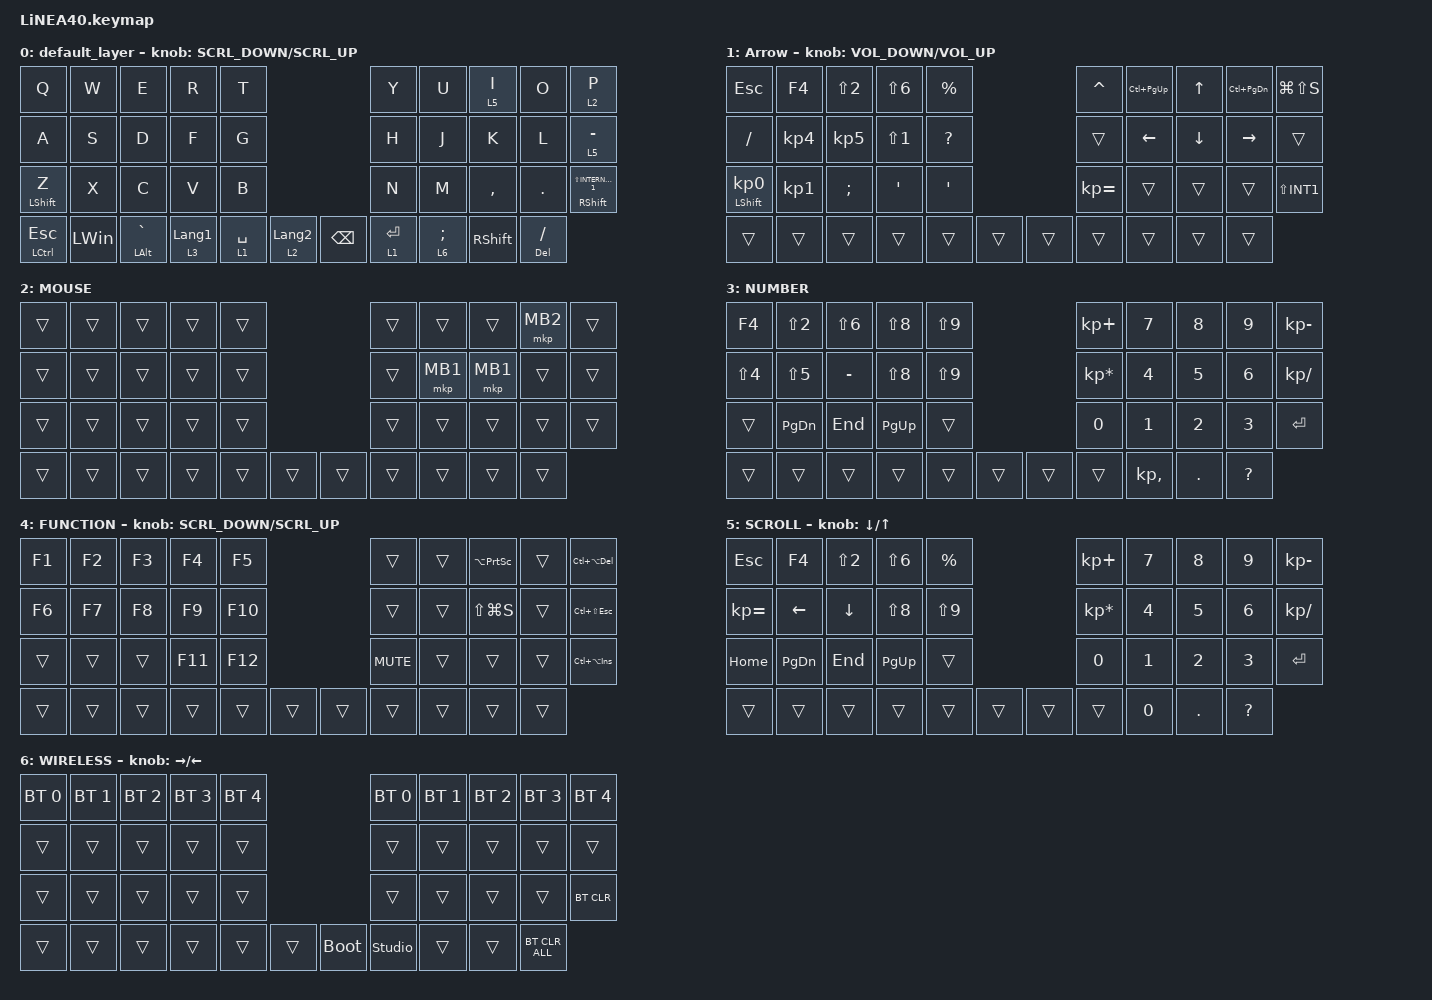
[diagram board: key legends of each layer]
#define ZMK_POINTING_DEFAULT_SCRL_VAL 150

#include <dt-bindings/zmk/input_transform.h>
#include <input/processors.dtsi>
#include <zephyr/dt-bindings/input/input-event-codes.h>
#include <behaviors.dtsi>
#include <dt-bindings/zmk/bt.h>
#include <dt-bindings/zmk/keys.h>
#include <dt-bindings/zmk/pointing.h>

#define MOUSE 1
#define MARK 2
#define CURSOR 3
#define FUNCTION 4
#define SCROLL 5
#define WIRELESS 6

//mouse cursol

&mmv {
    delay-ms = <20>;
    trigger-period-ms = <5>;
    time-to-max-speed-ms = <100>;
    acceleration-exponent = <2>;
};

//mouse scroll

&msc {
    delay-ms = <3>;
    trigger-period-ms = <6>;
    time-to-max-speed-ms = <100>;
    acceleration-exponent = <0>;
};

/ {
    input_processors {
        zip_wheel_scaler: zip_wheel_scaler {
            compatible = "zmk,input-processor-scaler";
            #input-processor-cells = <2>;
            type = <INPUT_EV_REL>;
            codes = <INPUT_REL_WHEEL>;
            track-remainders;
        };
    };
};

&msc_input_listener {
    speed_up {
        layers = <FUNCTION>;
        input-processors = <&zip_wheel_scaler 3 1>; //スクロールを3倍速にする
    };
};

&trackball_listener {
    scroller {
        layers = <SCROLL>;
        input-processors =
            <&zip_xy_transform INPUT_TRANSFORM_Y_INVERT>,
            //スクロール方向を逆転,,,,,,,,,,,,,,,,
            <&zip_xy_to_scroll_mapper>;
    };
};

/ {
    combos {
        compatible = "zmk,combos";

        ZenkakuHankaku {
            bindings = <&kp GRAVE>;
            key-positions = <11 12>;
        };

        InsertKey {
            bindings = <&kp INS>;
            key-positions = <6 7>;
        };

        CenterClick {
            bindings = <&mkp MB3>;
            key-positions = <17 16>;
        };

        RightClick {
            bindings = <&mkp MB2>;
            key-positions = <18 17>;
        };

        PrevClick {
            bindings = <&mkp MB4>;
            key-positions = <27 28>;
        };

        ClickNext {
            bindings = <&mkp MB5>;
            key-positions = <26 27>;
        };

        tab {
            bindings = <&kp TAB>;
            key-positions = <10 11>;
        };

        esc {
            bindings = <&kp ESC>;
            key-positions = <0 1>;
        };

        del {
            bindings = <&kp DELETE>;
            key-positions = <8 9>;
        };
    };

    behaviors {
        re_kp: sensor_rotate_kp {
            compatible = "zmk,behavior-sensor-rotate-var";
            #sensor-binding-cells = <2>;
            bindings = <&kp>, <&kp>;
        };

        mouse_scrl: mouse_wheel_scrl {
            compatible = "zmk,behavior-sensor-rotate-var";
            #sensor-binding-cells = <2>;
            bindings = <&msc>, <&msc>;

            tap-ms = <20>;
        };
    };

    keymap {
        compatible = "zmk,keymap";

        default_layer {
            bindings = <
&kp Q             &kp W         &kp E               &kp R             &kp T                                           &kp Y        &kp U  &lt 5 I          &kp O            &lt 2 P
&kp A             &kp S         &kp D               &kp F             &kp G                                           &kp H        &kp J  &kp K            &kp L            &lt 5 MINUS
&mt LEFT_SHIFT Z  &kp X         &kp C               &kp V             &kp B                                           &kp N        &kp M  &kp COMMA        &kp DOT          &mt RIGHT_SHIFT LS(INTERNATIONAL_1)
&mt LCTRL ESC     &kp LEFT_WIN  &mt LEFT_ALT GRAVE  &lt 3 LANGUAGE_1  &lt 1 SPACE  &lt 2 LANGUAGE_2    &kp BACKSPACE  &lt 1 ENTER         &lt 6 SEMICOLON  &kp RIGHT_SHIFT  &mt DELETE SLASH
            >;

            sensor-bindings = <&mouse_scrl SCRL_DOWN SCRL_UP>;
        };

        Arrow {
            bindings = <
&kp ESCAPE                  &kp F4           &kp LS(N2)       &kp LS(NUMBER_6)  &kp PERCENT                     &kp CARET     &kp LC(PAGE_UP)  &kp UP_ARROW    &kp LC(PAGE_DOWN)  &kp LG(LS(S))
&kp SLASH                   &kp KP_NUMBER_4  &kp KP_NUMBER_5  &kp LS(NUMBER_1)  &kp QUESTION                    &trans        &kp LEFT_ARROW   &kp DOWN_ARROW  &kp RIGHT          &trans
&mt LEFT_SHIFT KP_NUMBER_0  &kp KP_NUMBER_1  &kp SEMI         &kp APOS          &kp SQT                         &kp KP_EQUAL  &trans           &trans          &trans             &kp LS(INT1)
&trans                      &trans           &trans           &trans            &trans        &trans    &trans  &trans                         &trans          &trans             &trans
            >;

            sensor-bindings = <&re_kp C_VOLUME_DOWN C_VOLUME_UP>;
        };

        MOUSE {
            bindings = <
&trans  &trans  &trans  &trans  &trans                    &trans  &trans    &trans    &mkp MB2  &trans
&trans  &trans  &trans  &trans  &trans                    &trans  &mkp MB1  &mkp MB1  &trans    &trans
&trans  &trans  &trans  &trans  &trans                    &trans  &trans    &trans    &trans    &trans
&trans  &trans  &trans  &trans  &trans  &trans    &trans  &trans            &trans    &trans    &trans
            >;
        };

        NUMBER {
            bindings = <
&kp F4            &kp LS(NUMBER_2)  &kp LS(NUMBER_6)  &kp LS(N8)        &kp LS(N9)                          &kp KP_PLUS      &kp NUMBER_7  &kp NUMBER_8  &kp NUMBER_9  &kp KP_MINUS
&kp LS(NUMBER_4)  &kp LS(N5)        &kp MINUS         &kp LS(NUMBER_8)  &kp LS(NUMBER_9)                    &kp KP_MULTIPLY  &kp NUMBER_4  &kp NUMBER_5  &kp NUMBER_6  &kp KP_SLASH
&trans            &kp PAGE_DOWN     &kp END           &kp PAGE_UP       &trans                              &kp NUMBER_0     &kp NUMBER_1  &kp NUMBER_2  &kp NUMBER_3  &kp ENTER
&trans            &trans            &trans            &trans            &trans            &trans    &trans  &trans                         &kp KP_COMMA  &kp DOT       &kp QUESTION
            >;
        };

        FUNCTION {
            bindings = <
&kp F1  &kp F2  &kp F3  &kp F4   &kp F5                     &trans      &trans  &kp LA(PRINTSCREEN)  &trans  &kp LC(LA(DELETE))
&kp F6  &kp F7  &kp F8  &kp F9   &kp F10                    &trans      &trans  &kp LS(LG(S))        &trans  &kp LC(LS(ESCAPE))
&trans  &trans  &trans  &kp F11  &kp F12                    &kp C_MUTE  &trans  &trans               &trans  &kp LC(LA(INS))
&trans  &trans  &trans  &trans   &trans   &trans    &trans  &trans              &trans               &trans  &trans
            >;

            sensor-bindings = <&mouse_scrl SCRL_DOWN SCRL_UP>;
        };

        SCROLL {
            bindings = <
&kp ESCAPE    &kp F4          &kp LS(NUMBER_2)  &kp LS(NUMBER_6)  &kp PRCNT                           &kp KP_PLUS      &kp NUMBER_7  &kp NUMBER_8  &kp NUMBER_9  &kp KP_MINUS
&kp KP_EQUAL  &kp LEFT_ARROW  &kp DOWN          &kp LS(NUMBER_8)  &kp LS(NUMBER_9)                    &kp KP_MULTIPLY  &kp NUMBER_4  &kp NUMBER_5  &kp NUMBER_6  &kp KP_SLASH
&kp HOME      &kp PAGE_DOWN   &kp END           &kp PAGE_UP       &trans                              &kp NUMBER_0     &kp NUMBER_1  &kp NUMBER_2  &kp NUMBER_3  &kp ENTER
&trans        &trans          &trans            &trans            &trans            &trans    &trans  &trans                         &kp NUMBER_0  &kp DOT       &kp QUESTION
            >;

            sensor-bindings = <&inc_dec_kp DOWN_ARROW UP_ARROW>;
        };

        WIRELESS {
            bindings = <
&bt BT_SEL 0  &bt BT_SEL 1  &bt BT_SEL 2  &bt BT_SEL 3  &bt BT_SEL 4                         &bt BT_SEL 0    &bt BT_SEL 1  &bt BT_SEL 2  &bt BT_SEL 3  &bt BT_SEL 4
&trans        &trans        &trans        &trans        &trans                               &trans          &trans        &trans        &trans        &trans
&trans        &trans        &trans        &trans        &trans                               &trans          &trans        &trans        &trans        &bt BT_CLR
&trans        &trans        &trans        &trans        &trans        &trans    &bootloader  &studio_unlock                &trans        &trans        &bt BT_CLR_ALL
            >;

            sensor-bindings = <&inc_dec_kp RIGHT_ARROW LEFT_ARROW>;
        };
    };
};
